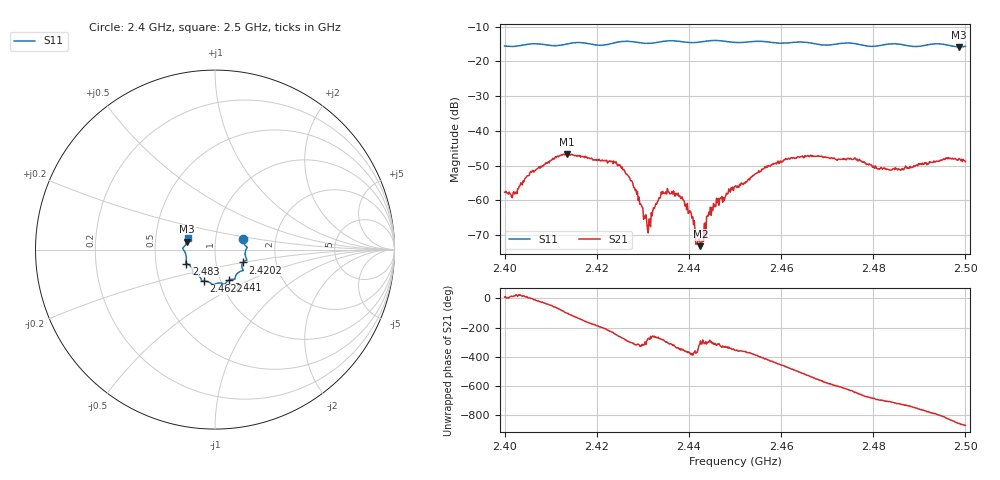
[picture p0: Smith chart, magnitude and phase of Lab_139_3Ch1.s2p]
# Hz S RI R
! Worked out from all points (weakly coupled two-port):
!   601 points, 2.4 GHz to 2.5 GHz, reference 50 ohm
!   highest |S21| = -46.66 dB at 2.4135 GHz (marker M1); lowest = -73.2 dB at 2.4425 GHz (marker M2)
!   lowest |S11| = -15.8 dB at 2.4987 GHz (marker M3), VSWR 1.39, Z = 36.4 + j3.29 ohm
!   |S11| at or under -10 dB: start of sweep to end of sweep
!   S12 and S22 are empty: the file has one direction only
!   S11 on the Smith chart (normalised r, x): 2.4 GHz: 1.36, +0.17; 2.4202 GHz: 1.35, -0.20; 2.441 GHz: 1.10, -0.39; 2.4622 GHz: 0.83, -0.30; 2.483 GHz: 0.72, -0.12; 2.5 GHz: 0.73, +0.09
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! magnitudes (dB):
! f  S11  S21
! 2.4 GHz  -15.5  -57.7
! 2.402 GHz  -15.7  -57.5
! 2.4057 GHz  -14.9  -51.7
! 2.4135 GHz  -15.0  -46.7
! 2.4167 GHz  -14.6  -47.3
! 2.4202 GHz  -15.3  -48.5
! 2.4255 GHz  -14.2  -50.4
! 2.428 GHz  -14.3  -56.3
! 2.4312 GHz  -14.8  -69.4
! 2.4333 GHz  -14.5  -60.1
! 2.4377 GHz  -14.2  -58.0
! 2.441 GHz  -14.6  -67.0
! 2.442 GHz  -14.5  -71.6
! 2.4425 GHz  -14.4  -73.2
! 2.4448 GHz  -14.0  -64.3
! 2.45 GHz  -14.5  -56.0
! 2.4622 GHz  -14.6  -47.7
! 2.4667 GHz  -14.7  -47.4
! 2.483 GHz  -15.0  -51.1
! 2.4833 GHz  -15.0  -51.2
! 2.4987 GHz  -15.8  -47.9
! 2.5 GHz  -15.6  -48.8
